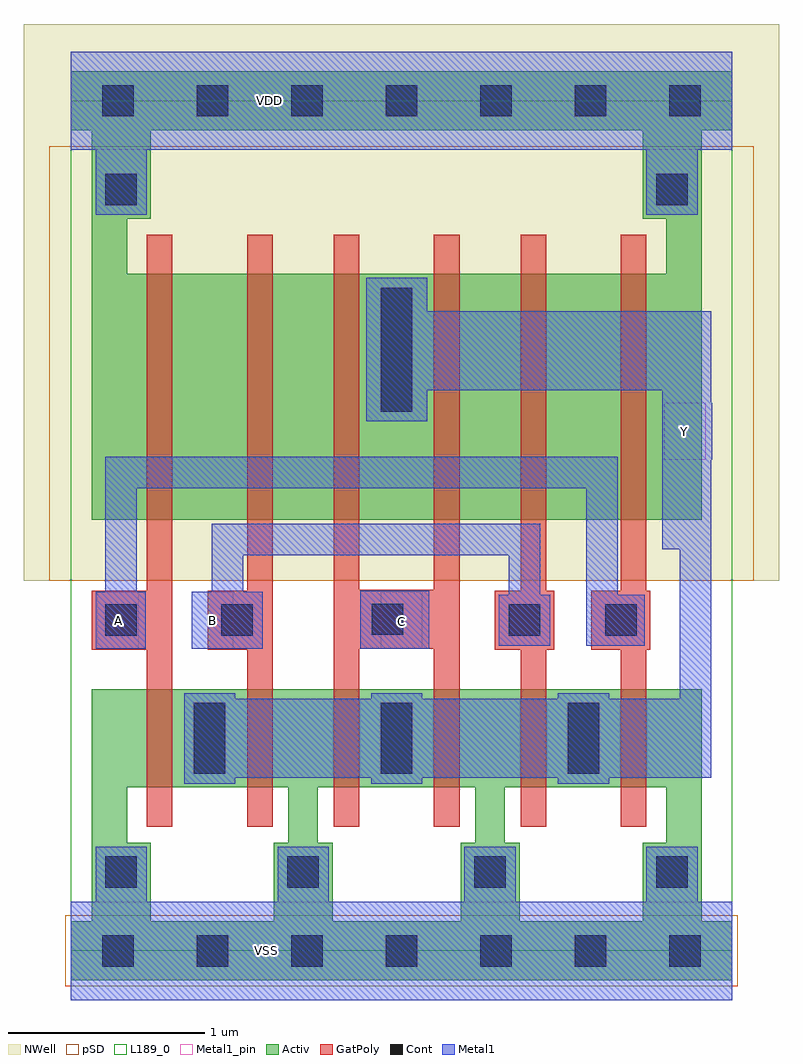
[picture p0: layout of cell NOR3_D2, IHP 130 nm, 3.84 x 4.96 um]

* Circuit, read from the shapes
.subckt NOR3_D2 A B C VDD VSS Y
XM1 Y A VSS VSS sg13_lv_nmos w=0.5u l=0.13u m=2
XM2 VSS B Y VSS sg13_lv_nmos w=0.5u l=0.13u m=2
XM3 Y C VSS VSS sg13_lv_nmos w=0.5u l=0.13u m=2
XM4 n1 A VDD VDD sg13_lv_pmos w=1.25u l=0.13u
XM5 n2 B n1 VDD sg13_lv_pmos w=1.25u l=0.13u
XM6 Y C n2 VDD sg13_lv_pmos w=1.25u l=0.13u
XM7 n3 C Y VDD sg13_lv_pmos w=1.25u l=0.13u
XM8 n4 B n3 VDD sg13_lv_pmos w=1.25u l=0.13u
XM9 VDD A n4 VDD sg13_lv_pmos w=1.25u l=0.13u
.ends

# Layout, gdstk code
import gdstk
lib = gdstk.Library(unit=1e-6, precision=1e-09)
def R(c, l, rs):  # rectangles x0, y0, x1, y1
    for r in rs: c.add(gdstk.rectangle(r[:2], r[2:], *l))
def A(c, l, x, y, w, h, nx, ny, dx, dy):  # array of equal rectangles
    R(c, l, [(x+i*dx, y+j*dy, x+i*dx+w, y+j*dy+h) for i in range(nx) for j in range(ny)])
def P(c, l, *ps):  # polygons
    for p in ps: c.add(gdstk.Polygon(p, *l))
Activ = (1, 0)
GatPoly = (5, 0)
Cont = (6, 0)
Metal1 = (8, 0)
Metal1_pin = (8, 2)
pSD = (14, 0)
NWell = (31, 0)
L189_0 = (189, 0)

nor3_d2 = lib.new_cell('NOR3_D2')
P(nor3_d2, Activ, [(3.36,4.17),(3.36,4.47),(0,4.47),(0,4.17),(0.105,4.17),(0.105,3.44),(0.285,3.44),(0.285,3.72),(0.405,3.72),(0.405,4.17),(2.905,4.17),(2.905,3.72),(3.025,3.72),(3.025,3.44),(0.285,3.44),(0.105,3.44),(0.105,2.19),(3.205,2.19),(3.205,4.17)],
  [(0.105,1.33),(0.105,0.55),(0.285,0.55),(0.285,0.83),(1.105,0.83),(1.105,0.55),(1.255,0.55),(1.255,0.83),(2.055,0.83),(2.055,0.55),(2.205,0.55),(2.205,0.83),(3.025,0.83),(3.025,0.55),(2.905,0.55),(2.905,0.15),(2.28,0.15),(2.28,0.55),(2.205,0.55),(2.055,0.55),(1.98,0.55),(1.98,0.15),(1.33,0.15),(1.33,0.55),(1.255,0.55),(1.105,0.55),(1.03,0.55),(1.03,0.15),(0.405,0.15),(0.405,0.55),(0.285,0.55),(0.105,0.55),(0.105,0.15),(0,0.15),(0,-0.15),(3.36,-0.15),(3.36,0.15),(3.205,0.15),(3.205,1.33)])
P(nor3_d2, GatPoly, [(2.415,1.53),(2.455,1.53),(2.455,1.83),(2.415,1.83),(2.415,3.64),(2.285,3.64),(2.285,1.83),(2.155,1.83),(2.155,1.53),(2.285,1.53),(2.285,0.63),(2.415,0.63)],
  [(1.845,0.63),(1.975,0.63),(1.975,3.64),(1.845,3.64),(1.845,1.835),(1.465,1.835),(1.465,3.64),(1.335,3.64),(1.335,0.63),(1.465,0.63),(1.465,1.535),(1.845,1.535)],
  [(2.925,1.53),(2.945,1.53),(2.945,1.83),(2.925,1.83),(2.925,3.64),(2.795,3.64),(2.795,1.83),(2.645,1.83),(2.645,1.53),(2.795,1.53),(2.795,0.63),(2.925,0.63)],
  [(1.025,3.64),(0.895,3.64),(0.895,1.83),(0.695,1.83),(0.695,1.53),(0.895,1.53),(0.895,0.63),(1.025,0.63)],
  [(0.515,3.64),(0.385,3.64),(0.385,1.83),(0.105,1.83),(0.105,1.53),(0.385,1.53),(0.385,0.63),(0.515,0.63)])
A(nor3_d2, Cont, 0.16, -0.08, 0.16, 0.16, 7, 2, 0.48, 4.32)
A(nor3_d2, Cont, 0.625, 0.9, 0.16, 0.36, 3, 1, 0.95, 0)
R(nor3_d2, Cont, [(0.175,0.32,0.335,0.48), (1.1,0.32,1.26,0.48), (2.05,0.32,2.21,0.48), (2.975,0.32,3.135,0.48), (0.175,1.6,0.335,1.76), (0.765,1.6,0.925,1.76), (2.225,1.6,2.385,1.76), (2.715,1.6,2.875,1.76), (1.53,1.605,1.69,1.765), (1.575,2.74,1.735,3.37), (0.175,3.79,0.335,3.95), (2.975,3.79,3.135,3.95)])
R(nor3_d2, Metal1, [(1.47,1.535,1.82,1.83)])
P(nor3_d2, Metal1, [(2.925,4.07),(2.925,3.74),(3.185,3.74),(3.185,4.07),(3.36,4.07),(3.36,4.57),(0,4.57),(0,4.07),(0.125,4.07),(0.125,3.74),(0.385,3.74),(0.385,4.07)],
  [(3.26,2.495),(3.26,2.785),(3.255,2.785),(3.255,3.25),(1.81,3.25),(1.81,3.42),(1.5,3.42),(1.5,2.69),(1.81,2.69),(1.81,2.85),(3.005,2.85),(3.005,2.04),(3.095,2.04),(3.095,1.28),(2.735,1.28),(2.735,1.31),(2.475,1.31),(2.475,1.28),(1.785,1.28),(1.785,1.31),(1.525,1.31),(1.525,1.28),(0.835,1.28),(0.835,1.31),(0.575,1.31),(0.575,0.85),(0.835,0.85),(0.835,0.88),(1.525,0.88),(1.525,0.85),(1.785,0.85),(1.785,0.88),(2.475,0.88),(2.475,0.85),(2.735,0.85),(2.735,0.88),(3.255,0.88),(3.255,2.495)],
  [(2.915,1.81),(2.78,1.81),(2.78,2.51),(0.175,2.51),(0.175,1.825),(0.125,1.825),(0.125,1.535),(0.38,1.535),(0.38,1.825),(0.335,1.825),(0.335,2.35),(2.62,2.35),(2.62,1.55),(2.915,1.55)],
  [(0.615,1.535),(0.975,1.535),(0.975,1.825),(0.875,1.825),(0.875,2.01),(2.225,2.01),(2.225,1.81),(2.175,1.81),(2.175,1.55),(2.435,1.55),(2.435,1.81),(2.385,1.81),(2.385,2.17),(0.715,2.17),(0.715,1.825),(0.615,1.825)],
  [(3.36,0.25),(3.185,0.25),(3.185,0.53),(2.925,0.53),(2.925,0.25),(2.26,0.25),(2.26,0.53),(2,0.53),(2,0.25),(1.31,0.25),(1.31,0.53),(1.05,0.53),(1.05,0.25),(0.385,0.25),(0.385,0.53),(0.125,0.53),(0.125,0.25),(0,0.25),(0,-0.25),(3.36,-0.25)])
R(nor3_d2, Metal1_pin, [(0,-0.25,3.36,0.25), (0.135,1.535,0.345,1.825), (0.615,1.535,0.825,1.825), (1.575,1.535,1.785,1.825), (3.015,2.495,3.225,2.785), (0,4.07,3.36,4.57)])
R(nor3_d2, pSD, [(-0.03,-0.18,3.39,0.18), (-0.11,1.88,3.47,4.09)])
R(nor3_d2, NWell, [(-0.24,1.88,3.6,4.71)])
R(nor3_d2, L189_0, [(0,0,3.36,4.32)])
nor3_d2.add(gdstk.Label('Y', (3.12,2.64), layer=8, texttype=25))
nor3_d2.add(gdstk.Label('C', (1.68,1.675), layer=8, texttype=25))
nor3_d2.add(gdstk.Label('B', (0.72,1.68), layer=8, texttype=25))
nor3_d2.add(gdstk.Label('A', (0.24,1.68), layer=8, texttype=25))
nor3_d2.add(gdstk.Label('VDD', (1.01,4.32), layer=8, texttype=25))
nor3_d2.add(gdstk.Label('VSS', (0.995,0), layer=8, texttype=25))

lib.write_gds('NOR3_D2.gds')
